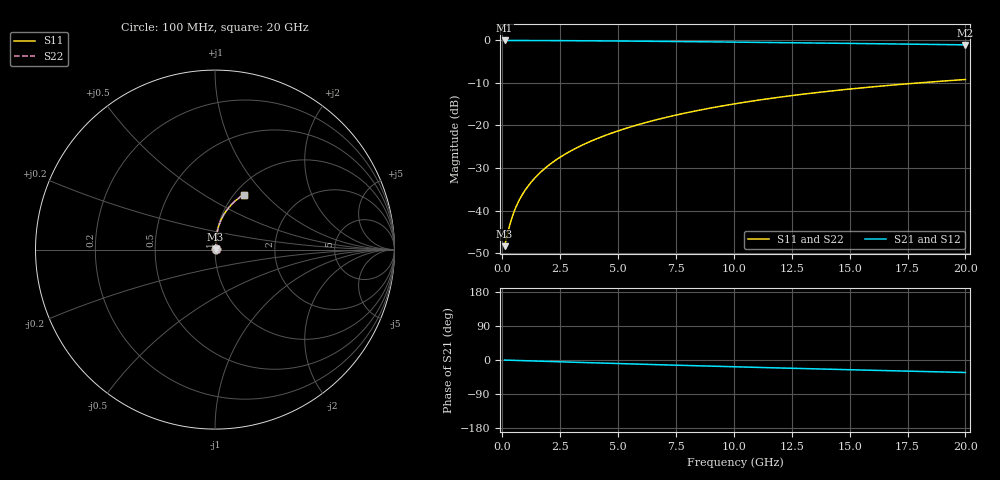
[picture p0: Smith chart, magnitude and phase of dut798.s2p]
! Touchstone file exported from HFSS 2024.1.0
!  File:  C:/UserFiles/LocalFiles/RDL_TSV_Batchsim/temp_RDL_bottom_798_1779861800.aedt
!  Generated:  02:06:10 PM May 27, 2026
!  Design:  RDL_bottom
!  Project:  temp_RDL_bottom_798_1779861800
!  Setup:  Setup1
!  Solution:  Sweep
! Variables:
!  dtsv = 10.80580581um
!  hbump = 3um
!  htsv = 63.63um
!  ldown = 419.88um
!  lrdl = 100um
!  p = 40
!  p1 = 51.83um
!  rhole = 1um
!  t = 450um
!  tdown = 2.36um
!  trdl = 3.915915916um
!  wdown = 20.56um
!  wrdl = 20um
# GHz S MA R 50.000000
! Terminal data exported
! Port[1] = RDL1_T1
! Port[2] = RDL1_T2
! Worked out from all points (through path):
!   200 points, 100 MHz to 20 GHz, reference 50 ohm
!   highest |S21| = -0.03 dB at 100 MHz (marker M1); lowest = -1.1 dB at 20 GHz (marker M2)
!   group delay of S21, straight-line fit = 4.55 ps
!   lowest |S11| = -48.4 dB at 100 MHz (marker M3), VSWR 1.01, Z = 50.3 + j0.183 ohm
!   |S11| at or under -10 dB: start of sweep to 17.99 GHz
!   |S22| runs from -48.4 to -9.2 dB; largest |S21 - S12| = 3.1e-15
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0.1  0.003815 28.4  0.9966 -0.2  0.9966 -0.2  0.003815 28.4
! Gamma 0 0 0 0
! Port Impedance 50 0 50 0
0.3  0.006426 56.7  0.9964 -0.6  0.9964 -0.6  0.006426 56.7
0.4  0.007976 62.8  0.9963 -0.8  0.9963 -0.8  0.007976 62.8
0.5  0.009559 66.8  0.9961 -1.0  0.9961 -1.0  0.009558 66.8
0.6  0.01115 69.7  0.9959 -1.2  0.9959 -1.2  0.01115 69.7
0.8  0.01435 73.5  0.9956 -1.6  0.9956 -1.6  0.01435 73.5
1  0.01756 76.1  0.9953 -1.9  0.9953 -1.9  0.01756 76.1
1.2  0.02079 77.9  0.995 -2.3  0.995 -2.3  0.02079 77.9
1.4  0.02405 79.3  0.9946 -2.7  0.9946 -2.7  0.02405 79.3
1.7  0.02898 80.7  0.994 -3.3  0.994 -3.3  0.02898 80.7
2.2  0.03731 82.2  0.9928 -4.2  0.9928 -4.2  0.03731 82.2
2.8  0.04749 83.2  0.991 -5.3  0.991 -5.3  0.04749 83.2
3.5  0.05959 83.7  0.9886 -6.6  0.9886 -6.6  0.05959 83.7
4.2  0.07193 83.8  0.9857 -7.9  0.9857 -7.9  0.07193 83.8
5  0.08629 83.5  0.9821 -9.4  0.9821 -9.4  0.08629 83.5
5.9  0.1027 82.8  0.9775 -11.0  0.9775 -11.0  0.1027 82.8
6.8  0.1193 81.9  0.9726 -12.5  0.9726 -12.5  0.1193 81.9
8.4  0.1491 80.0  0.9633 -15.2  0.9633 -15.2  0.1491 80.0
10.1  0.1807 77.5  0.9528 -18.0  0.9528 -18.0  0.1807 77.5
13.4  0.2401 72.4  0.9312 -23.2  0.9312 -23.2  0.2401 72.4
16.7  0.2957 67.3  0.9085 -28.2  0.9085 -28.2  0.2957 67.3
20  0.3466 62.3  0.8852 -32.9  0.8852 -32.9  0.3465 62.3
